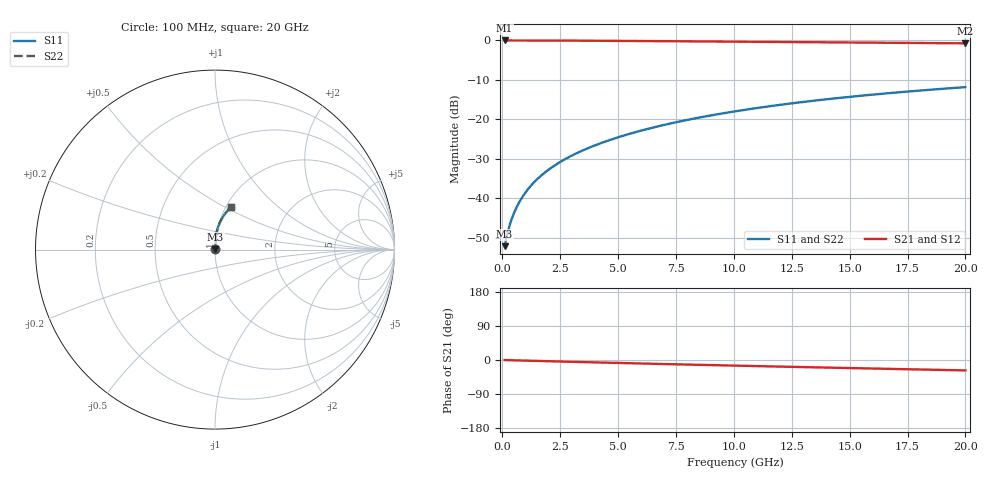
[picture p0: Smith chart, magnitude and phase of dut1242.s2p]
! Touchstone file exported from HFSS 2024.1.0
!  File:  C:/UserFiles/LocalFiles/RDL_TSV_Batchsim/temp_RDL_bottom_1242_1780244995.aedt
!  Generated:  12:31:59 AM Jun  1, 2026
!  Design:  RDL_bottom
!  Project:  temp_RDL_bottom_1242_1780244995
!  Setup:  Setup1
!  Solution:  Sweep
! Variables:
!  dtsv = 10.80580581um
!  hbump = 3um
!  htsv = 58.13um
!  ldown = 398.07um
!  lrdl = 100um
!  p = 40
!  p1 = 42.2um
!  rhole = 1um
!  t = 450um
!  tdown = 3.55um
!  trdl = 3.915915916um
!  wdown = 20.94um
!  wrdl = 20um
# GHz S MA R 50.000000
! Terminal data exported
! Port[1] = RDL1_T1
! Port[2] = RDL1_T2
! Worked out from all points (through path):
!   200 points, 100 MHz to 20 GHz, reference 50 ohm
!   highest |S21| = -0.02 dB at 100 MHz (marker M1); lowest = -0.7 dB at 20 GHz (marker M2)
!   group delay of S21, straight-line fit = 3.78 ps
!   lowest |S11| = -52.2 dB at 100 MHz (marker M3), VSWR 1.00, Z = 50.2 + j0.129 ohm
!   |S11| at or under -10 dB: start of sweep to end of sweep
!   |S22| runs from -52.2 to -11.9 dB; largest |S21 - S12| = 3.1e-15
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0.1  0.002462 31.5  0.9979 -0.2  0.9979 -0.2  0.002462 31.5
! Gamma 0 0 0 0
! Port Impedance 50 0 50 0
0.2  0.003343 48.8  0.9978 -0.3  0.9978 -0.3  0.003343 48.8
0.3  0.004349 57.9  0.9976 -0.5  0.9976 -0.5  0.004349 57.9
0.4  0.00538 63.5  0.9975 -0.7  0.9975 -0.7  0.00538 63.5
0.5  0.00642 67.4  0.9974 -0.8  0.9974 -0.8  0.00642 67.4
0.6  0.007471 70.4  0.9973 -1.0  0.9973 -1.0  0.007471 70.4
0.8  0.009603 74.5  0.9971 -1.3  0.9971 -1.3  0.009603 74.5
1.1  0.01287 78.3  0.9967 -1.8  0.9967 -1.8  0.01287 78.3
1.3  0.01508 80.0  0.9964 -2.1  0.9964 -2.1  0.01508 80.0
1.6  0.01844 81.8  0.996 -2.6  0.996 -2.6  0.01844 81.8
2.1  0.02412 83.7  0.995 -3.4  0.995 -3.4  0.02412 83.7
2.7  0.03108 85.0  0.9936 -4.3  0.9936 -4.3  0.03108 85.0
3.5  0.04058 86.0  0.9912 -5.5  0.9912 -5.5  0.04058 86.0
4.2  0.04911 86.3  0.9889 -6.6  0.9889 -6.6  0.04911 86.3
5  0.05909 86.4  0.9859 -7.8  0.9859 -7.8  0.05909 86.3
6.8  0.08235 85.6  0.9783 -10.4  0.9783 -10.4  0.08235 85.5
8.4  0.1037 84.2  0.9711 -12.7  0.9711 -12.7  0.1037 84.2
10.1  0.1267 82.3  0.9634 -15.0  0.9634 -15.0  0.1267 82.3
11.7  0.1484 80.3  0.956 -17.1  0.956 -17.1  0.1484 80.3
13.4  0.1712 78.1  0.9483 -19.3  0.9483 -19.3  0.1712 78.1
16.7  0.2144 73.6  0.9332 -23.4  0.9332 -23.4  0.2144 73.6
20  0.2554 69.2  0.918 -27.5  0.918 -27.5  0.2554 69.1
